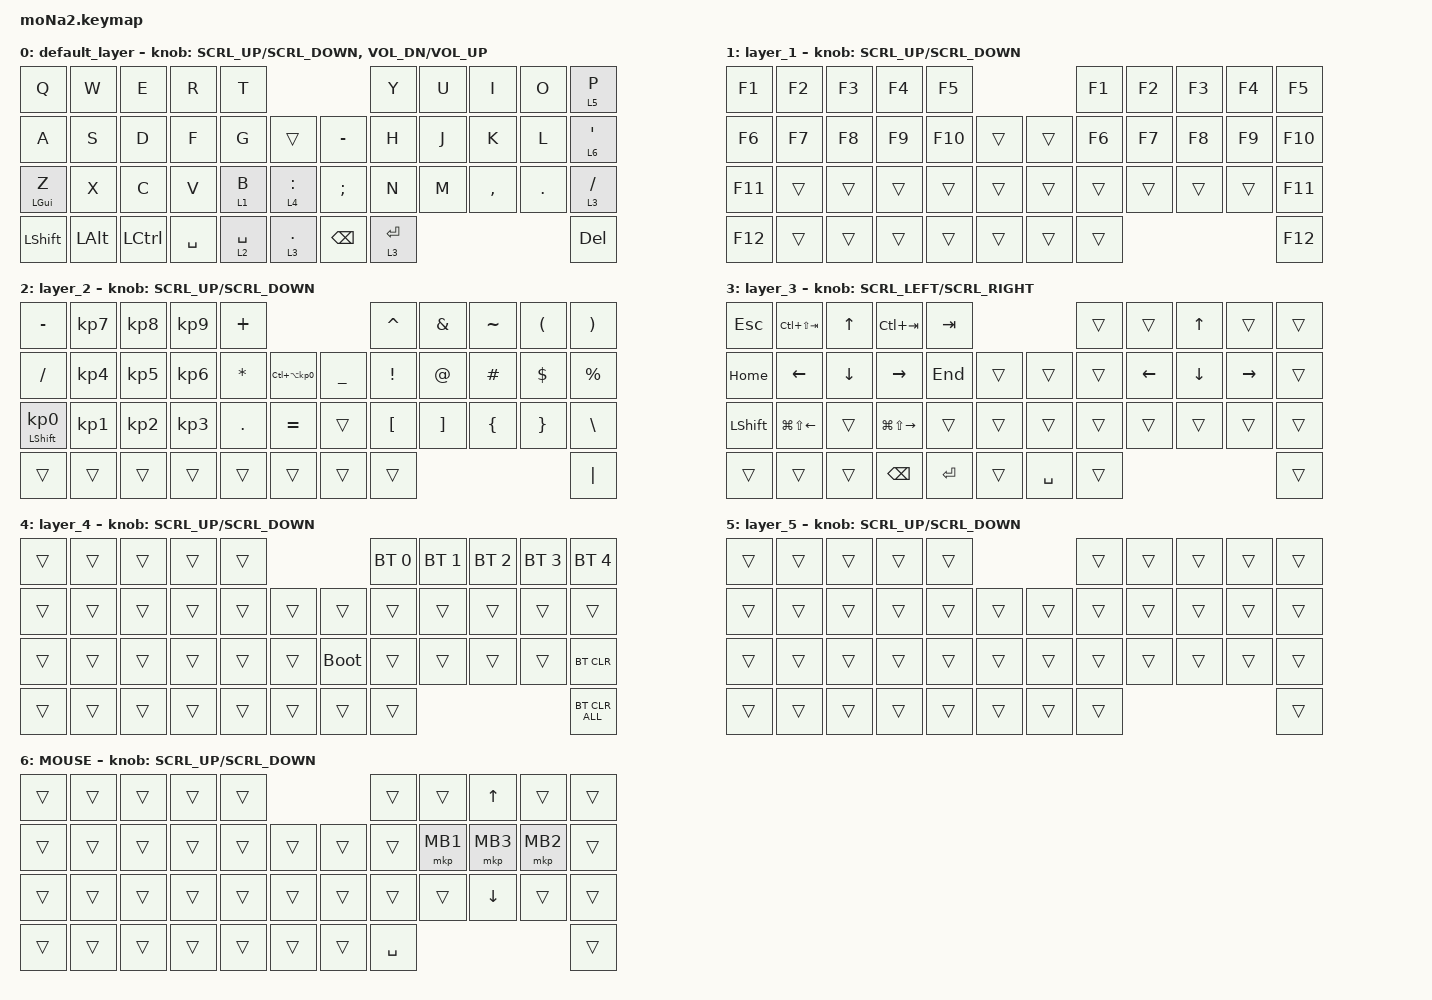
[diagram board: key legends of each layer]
#include <behaviors.dtsi>
#include <dt-bindings/zmk/bt.h>
#include <dt-bindings/zmk/keys.h>
#include <dt-bindings/zmk/pointing.h>

#define ZMK_POINTING_DEFAULT_SCRL_VAL 100
#define MOUSE 6

&mt {
    flavor = "balanced";
    quick-tap-ms = <0>;
};

/ {
    combos { compatible = "zmk,combos"; };

    macros {
        to_layer_0: to_layer_0 {
            compatible = "zmk,behavior-macro-one-param";
            #binding-cells = <1>;
            bindings = <&to 0 &macro_param_1to1 &kp MACRO_PLACEHOLDER>;
            label = "TO_LAYER_0";
        };
    };

    behaviors {
        lt_to_layer_0: lt_to_layer_0 {
            compatible = "zmk,behavior-hold-tap";
            label = "LAYER_TAP_TO_0";
            bindings = <&mo>, <&to_layer_0>;

            #binding-cells = <2>;
            tapping-term-ms = <200>;
        };

        mouse_scroll: mouse_wheel_scrl{
            compatible = "zmk,behavior-sensor-rotate-var";
            #sensor-binding-cells = <2>;
            bindings = <&msc>, <&msc>;
            // 追加: スクロールのタップ時間を設定 (20ms)
            tap-ms = <20>;
        };
    };

    keymap {
        compatible = "zmk,keymap";

        default_layer {
            bindings = <
&kp Q           &kp W         &kp E             &kp R      &kp T                                      &kp Y        &kp U  &kp I      &kp O    &lt 5 P
&kp A           &kp S         &kp D             &kp F      &kp G        &trans         &kp MINUS      &kp H        &kp J  &kp K      &kp L    &lt 6 SQT
&mt LEFT_GUI Z  &kp X         &kp C             &kp V      &lt 1 B      &lt 4 COLON    &kp SEMICOLON  &kp N        &kp M  &kp COMMA  &kp DOT  &lt 3 SLASH
&kp LSHFT       &kp LEFT_ALT  &kp LEFT_CONTROL  &kp SPACE  &lt 2 SPACE  &lt 3 DOT      &kp BACKSPACE  &lt 3 ENTER                             &kp DEL
            >;

            sensor-bindings =
                <&mouse_scroll SCRL_UP SCRL_DOWN>,
                <&inc_dec_kp C_VOL_DN C_VOL_UP>;
        };

        layer_1 {
            bindings = <
&kp F1   &kp F2  &kp F3  &kp F4  &kp F5                     &kp F1  &kp F2  &kp F3  &kp F4  &kp F5
&kp F6   &kp F7  &kp F8  &kp F9  &kp F10  &trans    &trans  &kp F6  &kp F7  &kp F8  &kp F9  &kp F10
&kp F11  &trans  &trans  &trans  &trans   &trans    &trans  &trans  &trans  &trans  &trans  &kp F11
&kp F12  &trans  &trans  &trans  &trans   &trans    &trans  &trans                          &kp F12
            >;

            sensor-bindings = <&mouse_scroll SCRL_UP SCRL_DOWN>;
        };

        layer_2 {
            bindings = <
&kp MINUS                   &kp KP_NUMBER_7  &kp KP_NUMBER_8  &kp KP_NUMBER_9  &kp PLUS                                                 &kp CARET         &kp AMPERSAND      &kp TILDE       &kp LEFT_PARENTHESIS  &kp RIGHT_PARENTHESIS
&kp SLASH                   &kp KP_NUMBER_4  &kp KP_NUMBER_5  &kp KP_NUMBER_6  &kp ASTERISK  &kp LC(LA(KP_NUMBER_0))    &kp UNDERSCORE  &kp EXCLAMATION   &kp AT_SIGN        &kp HASH        &kp DOLLAR            &kp PERCENT
&mt LEFT_SHIFT KP_NUMBER_0  &kp KP_NUMBER_1  &kp KP_NUMBER_2  &kp KP_NUMBER_3  &kp PERIOD    &kp EQUAL                  &trans          &kp LEFT_BRACKET  &kp RIGHT_BRACKET  &kp LEFT_BRACE  &kp RIGHT_BRACE       &kp BACKSLASH
&trans                      &trans           &trans           &trans           &trans        &trans                     &trans          &trans                                                                     &kp PIPE
            >;

            sensor-bindings = <&mouse_scroll SCRL_UP SCRL_DOWN>;
        };

        layer_3 {
            bindings = <
&kp ESCAPE      &kp LC(LS(TAB))         &kp UP_ARROW    &kp LC(TAB)              &kp TAB                         &trans  &trans          &kp UP_ARROW    &trans           &trans
&kp HOME        &kp LEFT_ARROW          &kp DOWN_ARROW  &kp RIGHT_ARROW          &kp END    &trans    &trans     &trans  &kp LEFT_ARROW  &kp DOWN_ARROW  &kp RIGHT_ARROW  &trans
&kp LEFT_SHIFT  &kp LG(LS(LEFT_ARROW))  &trans          &kp LG(LS(RIGHT_ARROW))  &trans     &trans    &trans     &trans  &trans          &trans          &trans           &trans
&trans          &trans                  &trans          &kp BACKSPACE            &kp ENTER  &trans    &kp SPACE  &trans                                                   &trans
            >;

            sensor-bindings = <&mouse_scroll SCRL_LEFT SCRL_RIGHT>;
        };

        layer_4 {
            bindings = <
&trans  &trans  &trans  &trans  &trans                         &bt BT_SEL 0  &bt BT_SEL 1  &bt BT_SEL 2  &bt BT_SEL 3  &bt BT_SEL 4
&trans  &trans  &trans  &trans  &trans  &trans    &trans       &trans        &trans        &trans        &trans        &trans
&trans  &trans  &trans  &trans  &trans  &trans    &bootloader  &trans        &trans        &trans        &trans        &bt BT_CLR
&trans  &trans  &trans  &trans  &trans  &trans    &trans       &trans                                                  &bt BT_CLR_ALL
            >;

            sensor-bindings = <&mouse_scroll SCRL_UP SCRL_DOWN>;
        };

        layer_5 {
            bindings = <
&trans  &trans  &trans  &trans  &trans                    &trans  &trans  &trans  &trans  &trans
&trans  &trans  &trans  &trans  &trans  &trans    &trans  &trans  &trans  &trans  &trans  &trans
&trans  &trans  &trans  &trans  &trans  &trans    &trans  &trans  &trans  &trans  &trans  &trans
&trans  &trans  &trans  &trans  &trans  &trans    &trans  &trans                          &trans
            >;

            sensor-bindings = <&mouse_scroll SCRL_UP SCRL_DOWN>;
        };

        MOUSE {
            bindings = <
&trans  &trans  &trans  &trans  &trans                    &trans     &trans    &kp UP_ARROW    &trans    &trans
&trans  &trans  &trans  &trans  &trans  &trans    &trans  &trans     &mkp MB1  &mkp MB3        &mkp MB2  &trans
&trans  &trans  &trans  &trans  &trans  &trans    &trans  &trans     &trans    &kp DOWN_ARROW  &trans    &trans
&trans  &trans  &trans  &trans  &trans  &trans    &trans  &kp SPACE                                      &trans
            >;

            sensor-bindings = <&mouse_scroll SCRL_UP SCRL_DOWN>;
        };
    };
};
